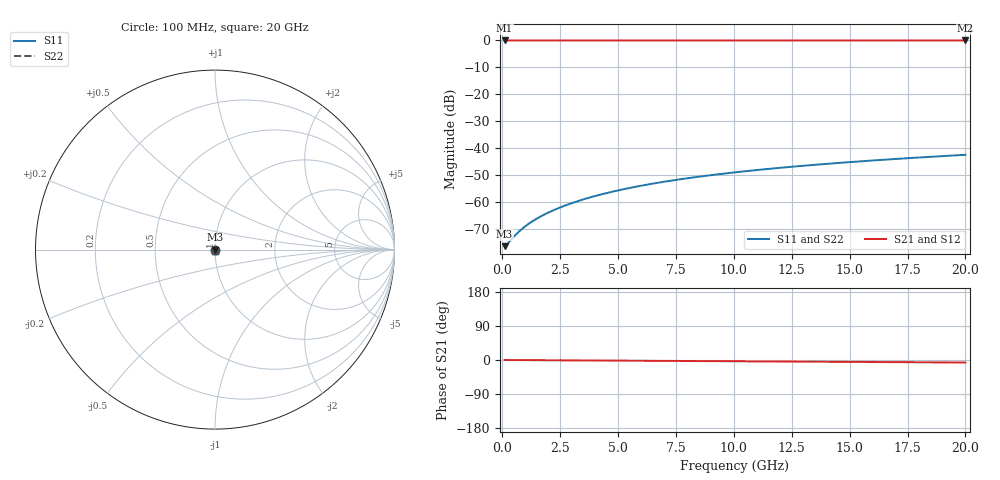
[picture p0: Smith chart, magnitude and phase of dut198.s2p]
! Touchstone file exported from HFSS 2026.1.0
!  File:  C:/ffzhzh/LocalFiles/Ansys_Project_Files/temp_train_TSV_198_1782991663_41620.aedt
!  Generated:  07:29:33 PM Jul  2, 2026
!  Design:  TSV
!  Project:  temp_train_TSV_198_1782991663_41620
! Variables:
!  h_bsmrdl = 2um
!  h_ox = 20um
!  h_rdl = 5um
!  h_sub = 67.54um
!  h_tmrdl = 5um
!  h_tsv = 67.54um
!  h_via = 3um
!  l_bsmrdl = 300um
!  l_sub = 416.56um
!  l_tmrdl = 200um
!  m_sub = 200um
!  pitch = 31.33um
!  r_tsv = 8.28um
!  s_tmrdl = 10um
!  w_bsmrdl = 18um
!  w_sub = 500um
!  w_tmrdl = 12um
!  x_tsv_center1 = 206um
!  x_tsv_center2 = 524um
!  x_tsv_center3 = 736um
!  x_tsv_center4 = 1054um
!  x_tsv_center5 = 1266um
!  x_tsv_center6 = 1584um
# GHz S MA R 50.000000
! Terminal data exported
! Port[1] = TSV1_1_T1
! Port[2] = TSV1_1_T2
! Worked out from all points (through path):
!   200 points, 100 MHz to 20 GHz, reference 50 ohm
!   highest |S21| = 0.00 dB at 100 MHz (marker M1); lowest = 0.0 dB at 20 GHz (marker M2)
!   lowest |S11| = -76.3 dB at 100 MHz (marker M3), VSWR 1.00, Z = 50 + j0.000566 ohm
!   |S11| at or under -10 dB: start of sweep to end of sweep
!   |S22| runs from -76.3 to -42.4 dB; largest |S21 - S12| = 3.9e-15
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0.1  0.0001537 2.1  0.9998 -0.0  0.9998 -0.0  0.0001537 2.1
! Gamma 0 0 0 0
! Port Impedance 50 0 50 0
0.2  0.0001662 2.9  0.9998 -0.1  0.9998 -0.1  0.0001662 2.9
0.6  0.0002554 -8.4  0.9997 -0.2  0.9997 -0.2  0.0002554 -8.4
0.8  0.0003076 -16.8  0.9997 -0.3  0.9997 -0.3  0.0003076 -16.8
1.1  0.0003887 -27.8  0.9997 -0.4  0.9997 -0.4  0.0003887 -27.8
1.3  0.0004443 -33.8  0.9996 -0.4  0.9996 -0.4  0.0004443 -33.8
1.5  0.0005012 -38.8  0.9996 -0.5  0.9996 -0.5  0.0005012 -38.8
1.9  0.0006188 -46.4  0.9996 -0.6  0.9996 -0.6  0.0006188 -46.4
2.4  0.0007723 -53.1  0.9995 -0.8  0.9995 -0.8  0.0007723 -53.1
2.9  0.0009324 -57.7  0.9995 -1.0  0.9995 -1.0  0.0009324 -57.7
3.5  0.001132 -61.7  0.9994 -1.2  0.9994 -1.2  0.001132 -61.7
4.2  0.001375 -65.0  0.9994 -1.4  0.9994 -1.4  0.001375 -65.0
5  0.001661 -67.9  0.9993 -1.7  0.9993 -1.7  0.001661 -67.9
5.9  0.001994 -70.5  0.9993 -2.0  0.9993 -2.0  0.001994 -70.5
6.8  0.002333 -72.5  0.9992 -2.3  0.9992 -2.3  0.002333 -72.5
8.3  0.00291 -75.3  0.9991 -2.8  0.9991 -2.8  0.00291 -75.3
10.1  0.003613 -78.0  0.999 -3.4  0.999 -3.4  0.003613 -78.0
11.7  0.004243 -79.9  0.999 -3.9  0.999 -3.9  0.004243 -79.9
13.4  0.004918 -81.6  0.9989 -4.5  0.9989 -4.5  0.004918 -81.6
15  0.005558 -82.9  0.9988 -5.0  0.9988 -5.0  0.005558 -82.9
16.7  0.006243 -84.2  0.9988 -5.5  0.9988 -5.5  0.006243 -84.2
20  0.007593 -86.3  0.9986 -6.6  0.9986 -6.6  0.007593 -86.3
